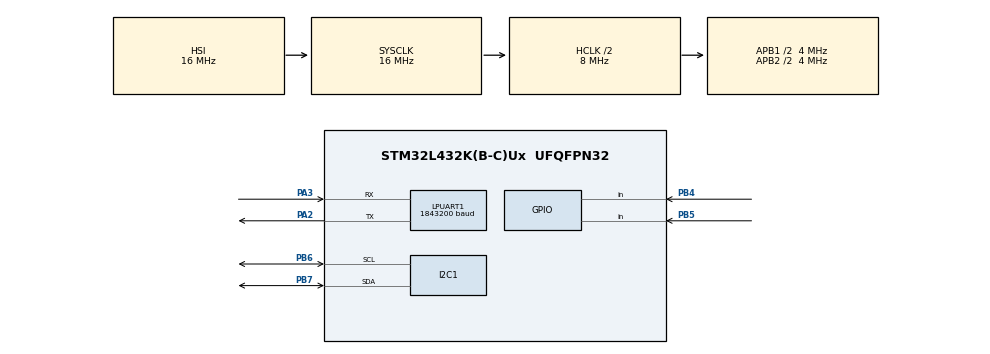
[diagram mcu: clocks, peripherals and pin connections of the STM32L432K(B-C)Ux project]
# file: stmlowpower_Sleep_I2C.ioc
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I2C1.Timing=0x00303D5B
LPUART1.BaudRate=1843200
LPUART1.WordLength=UART_WORDLENGTH_8B
Mcu.Family=STM32L4
Mcu.Name=STM32L432K(B-C)Ux
Mcu.Package=UFQFPN32
NVIC.PriorityGroup=NVIC_PRIORITYGROUP_4
NVIC.RCC_IRQn=true\:0\:0\:false\:false\:true\:true\:false\:true
NVIC.RTC_WKUP_IRQn=true\:0\:0\:false\:false\:true\:true\:true\:true
PA0.Mode=HSE-External-Clock-Source-for-LittleOrca
PA0.Signal=RCC_CK_IN
PA2.Mode=Asynchronous
PA2.Signal=LPUART1_TX
PA3.Mode=Asynchronous
PA3.Signal=LPUART1_RX
PB4\ (NJTRST).GPIO_PuPd=GPIO_PULLDOWN
PB4\ (NJTRST).Signal=GPIO_Input
PB5.GPIO_PuPd=GPIO_PULLDOWN
PB5.Signal=GPIO_Input
PB6.Mode=I2C
PB6.Signal=I2C1_SCL
PB7.Mode=I2C
PB7.Signal=I2C1_SDA
PC14-OSC32_IN\ (PC14).Mode=LSE-External-Oscillator
PC14-OSC32_IN\ (PC14).Signal=RCC_OSC32_IN
PC15-OSC32_OUT\ (PC15).Mode=LSE-External-Oscillator
PC15-OSC32_OUT\ (PC15).Signal=RCC_OSC32_OUT
ProjectManager.HeapSize=0x200
ProjectManager.StackSize=0x400
ProjectManager.TargetToolchain=STM32CubeIDE
RCC.ADCFreq_Value=500000
RCC.AHBCLKDivider=RCC_SYSCLK_DIV2
RCC.AHBFreq_Value=8000000
RCC.APB1CLKDivider=RCC_HCLK_DIV2
RCC.APB1Freq_Value=4000000
RCC.APB1TimFreq_Value=8000000
RCC.APB2CLKDivider=RCC_HCLK_DIV2
RCC.APB2Freq_Value=4000000
RCC.APB2TimFreq_Value=8000000
RCC.CortexFreq_Value=8000000
RCC.HCLKFreq_Value=8000000
RCC.HSE_VALUE=1000000
RCC.HSI48_VALUE=48000000
RCC.HSI_VALUE=16000000
RCC.I2C1CLockSelection=RCC_I2C1CLKSOURCE_SYSCLK
RCC.LPUART1CLockSelection=RCC_LPUART1CLKSOURCE_SYSCLK
RCC.MSIClockRange=RCC_MSIRANGE_4
RCC.MSI_VALUE=1000000
RCC.PLLM=8
RCC.PLLR=RCC_PLLR_DIV8
RCC.PLLSourceVirtual=RCC_PLLSOURCE_HSE
RCC.RTCClockSelection=RCC_RTCCLKSOURCE_LSE
RCC.SYSCLKFreq_VALUE=16000000
RCC.SYSCLKSource=RCC_SYSCLKSOURCE_HSI
RCC.USBFreq_Value=500000
RCC.VCOOutputFreq_Value=1000000
RTC.StoreOperation=RTC_STOREOPERATION_SET
VP_RTC_VS_RTC_Activate.Mode=RTC_Enabled
VP_RTC_VS_RTC_Calendar.Mode=RTC_Calendar
VP_RTC_VS_RTC_WakeUp_intern.Mode=WakeUp
board=custom

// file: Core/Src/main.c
/* USER CODE BEGIN Header */
/**
  ******************************************************************************
  * @file           : main.c
  * @brief          : Main program body
  ******************************************************************************
  * @attention
  *
  * Copyright (c) 2023 STMicroelectronics.
  * All rights reserved.
  *
  * This software is licensed under terms that can be found in the LICENSE file
  * in the root directory of this software component.
  * If no LICENSE file comes with this software, it is provided AS-IS.
  *
  * Code developed by Walter Schutz and Christopher Fehrer
  * 2023-2024 ECD 403 Senior project
  ******************************************************************************
  */
/* USER CODE END Header */
#include "main.h"

/* USER CODE BEGIN Includes */
#include "string.h"
#include <stdio.h>
#include <inttypes.h>
#include <stdarg.h> //for va_list var arg functions
/* USER CODE END Includes */

/* USER CODE BEGIN PD */
#define FLASH_USER_START_ADDR   ADDR_FLASH_PAGE_16   /* Start @ of user Flash area */
#define FLASH_USER_END_ADDR     ADDR_FLASH_PAGE_127 + FLASH_PAGE_SIZE - 1   /* End @ of user Flash area */
#define FLASH_USER_ADDR_ADDR    ADDR_FLASH_PAGE_127
#define DATA_64                 ((uint64_t)0x1234567812345678)
#define DATA_32                 ((uint32_t)0x12345678)
/* USER CODE END PD */

I2C_HandleTypeDef hi2c1;

UART_HandleTypeDef hlpuart1;

RTC_HandleTypeDef hrtc;

/* USER CODE BEGIN PV */
uint8_t  tempH, tempL; //Temperature data is read in 2 8-bit parts
uint8_t storeCounter=3, colInt = 30; //store intermediate values in backup reg for more efficiency
uint16_t fullTemp; // Full temperature data
uint64_t writeVal; // Value to write to flash storage
uint32_t bkWrite, bkWriteTime; // Value to write to backup register
uint8_t config = 0x01; // Address for CTRL register on temperature sensor
RTC_TimeTypeDef gTime; // to be used if we want to improve time tracking
uint32_t dataSamplesStored = 0; // number of temperature data samples taken
//FLASH MEMORY STUFF
uint32_t FirstPage = 0, NbOfPages = 0, BankNumber = 0;
uint32_t Address = 0, mgmtAddr = FLASH_USER_ADDR_ADDR, PAGEError = 0;
uint32_t Rx_Data[2];
__IO uint32_t data32 = 0, MemoryProgramStatus = 0;
static FLASH_EraseInitTypeDef EraseInitStruct;
//DATA TRANSFER STUFF
uint8_t UART_Rx_Data[1] = "w";
/* USER CODE END PV */

void SystemClock_Config(void);
static void MX_GPIO_Init(void);
static void MX_RTC_Init(void);
static void MX_I2C1_Init(void);
static void MX_LPUART1_UART_Init(void);
/* USER CODE BEGIN PFP */
void UART_TRANSMIT(char *str);
/* USER CODE END PFP */

/* USER CODE BEGIN 0 */
void HAL_GPIO_EXTI_Callback(uint16_t GPIO_Pin)
{
  if(GPIO_Pin == GPIO_PIN_9)
  {
	  SystemClock_Config ();
	  HAL_ResumeTick();
	  char *str = "WAKEUP FROM EXTII\n\n";
	  HAL_UART_Transmit(&hlpuart1, (uint8_t *) str, strlen (str), 100);
	  HAL_PWR_DisableSleepOnExit();
  }
}
void HAL_RTCEx_WakeUpTimerEventCallback(RTC_HandleTypeDef *hrtc){
	SystemClock_Config ();
	HAL_ResumeTick();
	char *str = "WAKEUP FROM RTC\n\n\r";
	HAL_UART_Transmit(&hlpuart1, (uint8_t *) str, strlen (str), 100);
	HAL_PWR_DisableSleepOnExit();
}
void myprintf(const char *fmt, ...) {
  static char buffer[256];
  va_list args;
  va_start(args, fmt);
  vsnprintf(buffer, sizeof(buffer), fmt, args);
  va_end(args);

  int len = strlen(buffer);
  HAL_UART_Transmit(&hlpuart1, (uint8_t*)buffer, len, 100);
}
static uint32_t GetPage(uint32_t Addr)
{
  uint32_t page = 0;

  if (Addr < (FLASH_BASE + FLASH_BANK_SIZE))
  {
    /* Bank 1 */
    page = (Addr - FLASH_BASE) / FLASH_PAGE_SIZE;
  }
  else
  {
    /* Bank 2 */
    page = (Addr - (FLASH_BASE + FLASH_BANK_SIZE)) / FLASH_PAGE_SIZE;
  }

  return page;
}

static uint32_t GetBank(uint32_t Addr)
{
  return FLASH_BANK_1;
}

void Flash_Read_Data (uint32_t StartPageAddress, uint32_t *RxBuf, uint16_t numberofwords)
{
	while (1)
	{

		*RxBuf = *(__IO uint32_t *)StartPageAddress;
		StartPageAddress += 4;
		RxBuf++;
		if (!(numberofwords--)) break;
	}
}

void Transfer_All_Data()
{
	uint32_t readSamplesStored = 0;
	uint32_t currentAddress = FLASH_USER_START_ADDR;
	uint32_t dataTimeInterval;
	uint32_t dataTimePassed = 0;
	uint32_t dataTemperatureHex;
	uint32_t dataTemperature;
	Flash_Read_Data(mgmtAddr-8, Rx_Data, 1);
	readSamplesStored = Rx_Data[1];
	readSamplesStored = (readSamplesStored == 0xffffffff) ? 0 : readSamplesStored;
	myprintf("#Transmitting all Temperature Data (%u Samples):\n\r", readSamplesStored * 4);
	if ((readSamplesStored == 0) || readSamplesStored == 0xffffffff)
		myprintf("No stored data samples to transfer!\n\r");
	else
	{
		for (uint32_t i = 1; i <= readSamplesStored * 4; i++)
		{
			dataTimeInterval = *(__IO uint32_t *)currentAddress & 0xff;
			dataTimePassed += dataTimeInterval;
			dataTemperatureHex = *(__IO uint32_t *)(currentAddress+4) & 0xff;
			dataTemperature = (dataTemperatureHex * 32) / 100;
			currentAddress += 1;
			// Above code reads from 2 concurrent 32-bit words. So once end of byte reached, skip 1 word.
			if ((i % 4) == 0)
				currentAddress += 4;
			myprintf("Time:, %d s, Temp:, %d C\n\r", dataTimePassed, dataTemperature);
		}
	}
	myprintf("Data Transfer Completed.\n\r");
}
/* USER CODE END 0 */

int main(void)
{

  /* MCU Configuration--------------------------------------------------------*/

  /* Reset of all peripherals, Initializes the Flash interface and the Systick. */
  HAL_Init();

  /* Configure the system clock */
  SystemClock_Config();

  /* Initialize all configured peripherals */
  MX_GPIO_Init();
  MX_RTC_Init();
  MX_I2C1_Init();
  MX_LPUART1_UART_Init();
  /* USER CODE BEGIN 2 */
  // Optional Flasher
  /*
  HAL_Delay(1000);
  for (int i=0; i<11; i++)
  {
	  HAL_GPIO_TogglePin(GPIOB, GPIO_PIN_3);
	  HAL_Delay(200);
  }
  HAL_GPIO_TogglePin(GPIOB, GPIO_PIN_3);
  */
  myprintf("BEGIN MAIN\n\n\r");
   /* enable the RTC Wakeup */
     /*  RTC Wake-up Interrupt Generation:
       Wake-up Time Base = (RTC_WAKEUPCLOCK_RTCCLK_DIV /(LSI))
       ==> WakeUpCounter = Wake-up Time / Wake-up Time Base

       To configure the wake up timer to 5s the WakeUpCounter is set to 0x2710:
       RTC_WAKEUPCLOCK_RTCCLK_DIV = RTCCLK_Div16 = 16
       Wake-up Time Base = 16 /(32KHz) = 0.0005 seconds
       ==> WakeUpCounter = ~5s/0.0005s = 10000 = 0x2710
     */
  if ((HAL_RTCEx_SetWakeUpTimer_IT(&hrtc, colInt, RTC_WAKEUPCLOCK_CK_SPRE_16BITS)) != HAL_OK)
  {
	  Error_Handler();
  }
  //Scan Flash for free page, assume if start of page is empty, the page is empty
  // 2048 should be page size in bytes, 1 address = 1 byte
  //HAL_FLASH_Program(FLASH_TYPEPROGRAM_DOUBLEWORD, mgmtAddr, FLASH_USER_START_ADDR);
  // Address = HAL_RTCEx_BKUPRead(&hrtc, RTC_BKP_DR1);
  if (Address == 0x00000000){
	  Address = FLASH_USER_START_ADDR;
	  while (mgmtAddr < FLASH_USER_END_ADDR && Rx_Data[0] != 0xFFFFFFFF){
		  Flash_Read_Data (mgmtAddr, Rx_Data, 1);
		  myprintf("read: %08" PRIx32 " at: %08" PRIx32 "\n\r",Rx_Data[0], mgmtAddr);
		  mgmtAddr += 8;
	  }
	  if ((Rx_Data[0] == 0xFFFFFFFF)){
		  mgmtAddr-=8;
		  Flash_Read_Data(mgmtAddr-8, Rx_Data, 1);
		  Address = Rx_Data[0];
		  dataSamplesStored=Rx_Data[1];
		  dataSamplesStored = (dataSamplesStored == 0xFFFFFFFF) ? 0 : dataSamplesStored;
		  myprintf("Address: %08" PRIx32 " Samples: %08" PRIx32 "\n\r",Rx_Data[0], Rx_Data[1]);
	  }else{
		  Address = Rx_Data[0];
		  dataSamplesStored=Rx_Data[1];
		  dataSamplesStored = (dataSamplesStored == 0xFFFFFFFF) ? 0 : dataSamplesStored;
	  }
	  if (Address >= FLASH_USER_ADDR_ADDR){
		//Now Erase the Flash memory we will use//
		/* Unlock the Flash to enable the flash control register access *************/
		HAL_FLASH_Unlock();
		/* Erase the user Flash area
				(area defined by FLASH_USER_START_ADDR and FLASH_USER_END_ADDR) ***********/
		  /* Clear OPTVERR bit set on virgin samples */
		__HAL_FLASH_CLEAR_FLAG(FLASH_FLAG_OPTVERR);
		/* Get the 1st page to erase */
		FirstPage = GetPage(FLASH_USER_START_ADDR);
		/* Get the number of pages to erase from 1st page */
		NbOfPages = GetPage(FLASH_USER_START_ADDR+FLASH_PAGE_SIZE) - FirstPage + 1;
		/* Get the bank */
		BankNumber = GetBank(FLASH_USER_START_ADDR);
		/* Fill EraseInit structure*/
		EraseInitStruct.TypeErase   = FLASH_TYPEERASE_PAGES;
		EraseInitStruct.Banks       = BankNumber;
		EraseInitStruct.Page        = FirstPage;
		EraseInitStruct.NbPages     = NbOfPages;
		myprintf("Starting Program\n\r");
		/* Note: If an erase operation in Flash memory also concerns data in the data or instruction cache,
				 you have to make sure that these data are rewritten before they are accessed during code
				 execution. If this cannot be done safely, it is recommended to flush the caches by setting the
				 DCRST and ICRST bits in the FLASH_CR register. */
		if (HAL_FLASHEx_Erase(&EraseInitStruct, &PAGEError) != HAL_OK)
		{
		  /*
		  Error occurred while page erase.
		  User can add here some code to deal with this error.
		  PAGEError will contain the faulty page and then to know the code error on this page,
		  user can call function 'HAL_FLASH_GetError()'
		  */
		  while (1)
		  {
				  /* Make LED3 blink (100ms on, 2s off) to indicate error in Erase operation */
			  HAL_GPIO_TogglePin(GPIOB, GPIO_PIN_3);
			  HAL_Delay(100);
			  HAL_GPIO_TogglePin(GPIOB, GPIO_PIN_3);
			  HAL_Delay(2000);
			  myprintf("ERROR while erasing\n");
		  }
		}
		Address = FLASH_USER_START_ADDR;
	 }
  }
  myprintf("Current Address: %08" PRIx32 "\n",Address);
  HAL_RTCEx_BKUPWrite(&hrtc, RTC_BKP_DR1, Address);
  //HAL_RTCEx_BKUPWrite(&hrtc, RTC_BKP_DR0, '*'); //Write to RTC backup register
  HAL_FLASH_Lock();
  /* USER CODE END 2 */

  /* Infinite loop */
  while (1)
  {
    /* USER CODE BEGIN 3 */
	if (storeCounter >= 3){
		storeCounter=0;
	}else{storeCounter++;}
	HAL_GPIO_TogglePin(GPIOB, GPIO_PIN_3); // Toggle LED on (does nothing)
	static uint32_t secondsPassed = 0; // keep track of time, assume RTC value is exact
	// Get current Address to write to //
	Address = HAL_RTCEx_BKUPRead(&hrtc, RTC_BKP_DR1);
	// Send time over serial for debugging
	myprintf("Time Passed (Since Power Loss): %u Seconds\n\r", (unsigned int)secondsPassed);
	// TEMPERATURE CODE //
	HAL_I2C_Mem_Write(&hi2c1, 0x79, 0x04, 1, &config, 1, 10);
	writeVal = 0;
	// Device Address is the manufacturer set slave address shifted left + 1
	if (HAL_I2C_IsDeviceReady(&hi2c1,0x79,1,10) == HAL_OK){ // Check if temp sensor detected
		myprintf("I2C Device Detected\n\n\r");

	 	//Write config to CTRL register in temp sensor
	 	//HAL_I2C_Mem_Write(&hi2c1, 0x78, 0x04, 1, &config, 1, 10);

	 	//Read data from both temperature registers
	 	HAL_I2C_Mem_Read(&hi2c1, 0x79 | 0x01, 0x06, 1, &tempL, 1, 10);
	 	HAL_I2C_Mem_Read(&hi2c1, 0x79 | 0x01, 0x07, 1, &tempH, 1, 10);

	 	//If power loss, try reading temperature a second time with a delay
	 	if ((fullTemp == 0) && (secondsPassed == 0))
	 	{
	 		HAL_Delay(50);

		 	//Read data from both temperature registers
		 	HAL_I2C_Mem_Read(&hi2c1, 0x79 | 0x01, 0x06, 1, &tempL, 1, 10);
		 	HAL_I2C_Mem_Read(&hi2c1, 0x79 | 0x01, 0x07, 1, &tempH, 1, 10);

		 	fullTemp =((uint16_t)tempH << 8) | tempL;
	 	}

	 	//Concatenate and Print temperature data
	 	fullTemp =((uint16_t)tempH << 8) | tempL;
	 	myprintf("temperature = %d \n\r", fullTemp/100);
	}
 	bkWrite = ((uint32_t)(uint8_t)((fullTemp >> 5) & 0xFF) << storeCounter*8);
 	bkWrite = (bkWrite | HAL_RTCEx_BKUPRead(&hrtc, RTC_BKP_DR2));
 	bkWriteTime = (uint32_t)colInt<<storeCounter*8;
 	bkWriteTime = (bkWriteTime | HAL_RTCEx_BKUPRead(&hrtc, RTC_BKP_DR3));
	if (storeCounter!=3){
		HAL_RTCEx_BKUPWrite(&hrtc, RTC_BKP_DR2, bkWrite);
		HAL_RTCEx_BKUPWrite(&hrtc, RTC_BKP_DR3, bkWriteTime);
	}else{
		myprintf("Current Address: %08" PRIx32 "\n\r",Address);
		HAL_RTCEx_BKUPWrite(&hrtc, RTC_BKP_DR2, bkWrite);
		HAL_RTCEx_BKUPWrite(&hrtc, RTC_BKP_DR3, bkWriteTime);
		writeVal = ((uint64_t)HAL_RTCEx_BKUPRead(&hrtc, RTC_BKP_DR2)<<32) | HAL_RTCEx_BKUPRead(&hrtc, RTC_BKP_DR3);
		HAL_FLASH_Unlock();
		if (Address < FLASH_USER_ADDR_ADDR)
		{
			if (Address % FLASH_PAGE_SIZE == 0){ /*is the current address the start of a page?*/
				myprintf("Starting new page... Erasing...\n\r");
				__HAL_FLASH_CLEAR_FLAG(FLASH_FLAG_OPTVERR);
				/* Erase the Next Page */
				FirstPage = GetPage(Address);
				NbOfPages = 1;
				/* Get the bank */
				BankNumber = GetBank(FLASH_USER_START_ADDR);
				/* Fill EraseInit structure*/
				EraseInitStruct.TypeErase   = FLASH_TYPEERASE_PAGES;
				EraseInitStruct.Banks       = BankNumber;
				EraseInitStruct.Page        = FirstPage;
				EraseInitStruct.NbPages     = NbOfPages;
				HAL_FLASHEx_Erase(&EraseInitStruct, &PAGEError);
			}
			if (HAL_FLASH_Program(FLASH_TYPEPROGRAM_DOUBLEWORD, Address, writeVal) == HAL_OK)
			{
				//myprintf("%08" PRIx32 "\n\r",bkWriteTime);
				HAL_RTCEx_BKUPWrite(&hrtc, RTC_BKP_DR2,0x00000000);
				HAL_RTCEx_BKUPWrite(&hrtc, RTC_BKP_DR3,0x00000000);
				Address = Address + 8;
			 	dataSamplesStored++;
			}else{
				myprintf("ERROR WRITING DATA\n\r");
				Address = Address + 8;
			} //Store current Address in memory in case power is lost!
			if (mgmtAddr >= FLASH_USER_END_ADDR){
				// Erase mem mgmt page and start again!
				myprintf("Erasing memory management page...");
			    __HAL_FLASH_CLEAR_FLAG(FLASH_FLAG_OPTVERR);
				/* Erase the Next Page */
				FirstPage = GetPage(FLASH_USER_ADDR_ADDR);
				NbOfPages = 1;
				/* Get the bank */
				BankNumber = GetBank(FLASH_USER_ADDR_ADDR);
				EraseInitStruct.TypeErase   = FLASH_TYPEERASE_PAGES;
				EraseInitStruct.Banks       = BankNumber;
				EraseInitStruct.Page        = FirstPage;
				EraseInitStruct.NbPages     = NbOfPages;
				HAL_FLASHEx_Erase(&EraseInitStruct, &PAGEError);
				mgmtAddr = FLASH_USER_ADDR_ADDR;
			}
			//if (HAL_FLASH_Program(FLASH_TYPEPROGRAM_DOUBLEWORD, mgmtAddr, (((uint64_t)Address <<32) | (uint32_t)dataSamplesStored) == HAL_OK))
			if (HAL_FLASH_Program(FLASH_TYPEPROGRAM_DOUBLEWORD, mgmtAddr, (uint64_t)dataSamplesStored<<32|Address) == HAL_OK)
			{
				myprintf("stored: %08" PRIx32 " at: %08" PRIx32 "\n",Address, mgmtAddr);
				mgmtAddr = mgmtAddr + 8;
			}else{
				myprintf("ERROR STORING ADDRESS\n");
				mgmtAddr = mgmtAddr + 8;
			}
		}else{
			myprintf("Reached end of user address... \n starting from the top!");
			Address = FLASH_USER_START_ADDR;
			__HAL_FLASH_CLEAR_FLAG(FLASH_FLAG_OPTVERR);
			/* Get the 1st page to erase */
			FirstPage = GetPage(Address);
			NbOfPages = 1;
			/* Get the bank */
			BankNumber = GetBank(FLASH_USER_START_ADDR);
			/* Fill EraseInit structure*/
			EraseInitStruct.TypeErase   = FLASH_TYPEERASE_PAGES;
			EraseInitStruct.Banks       = BankNumber;
			EraseInitStruct.Page        = FirstPage;
			EraseInitStruct.NbPages     = NbOfPages;
			HAL_FLASHEx_Erase(&EraseInitStruct, &PAGEError);
		}
		HAL_FLASH_Lock();
	}
	//Write current Address up backup register
	HAL_RTCEx_BKUPWrite(&hrtc, RTC_BKP_DR1, Address);

	// Check if USB connected (CN2 PIN 2 -> D12)
	if (HAL_GPIO_ReadPin(GPIOB, GPIO_PIN_4))
	{
		// If USB connected transfer data
		myprintf("USB Detected\n\r");
		Transfer_All_Data();
	}
	// check PGOOD
	if(HAL_GPIO_ReadPin (GPIOB, GPIO_PIN_5)){
		colInt = 30;
		HAL_RTCEx_SetWakeUpTimer_IT(&hrtc, colInt, RTC_WAKEUPCLOCK_CK_SPRE_16BITS);
	}else{
		colInt = 120;
		HAL_RTCEx_SetWakeUpTimer_IT(&hrtc, colInt, RTC_WAKEUPCLOCK_CK_SPRE_16BITS);
	}
	/* Suspend tick before entering stop mode */
	HAL_SuspendTick();
	/* Sleep on Exit? */
	//HAL_PWR_EnableSleepOnExit();
	HAL_PWR_DisableSleepOnExit();
	HAL_GPIO_TogglePin(GPIOB, GPIO_PIN_3);
	// Disable peripherals before entering stop mode
	HAL_UART_DeInit(&hlpuart1);
	HAL_I2C_DeInit(&hi2c1);
	/* Enter STOP mode */
	HAL_PWR_EnterSTOPMode(PWR_LOWPOWERREGULATOR_ON, PWR_STOPENTRY_WFI);
	/* Wake from stop mode */
	SystemClock_Config();
	// Re-init peripherals after waking from stop mode
	MX_I2C1_Init();
	MX_LPUART1_UART_Init();
	HAL_ResumeTick();
	secondsPassed += colInt;
	/** Deactivate the RTC wakeup, we would do this when connected to PC**/
	//HAL_RTCEx_DeactivateWakeUpTimer(&hrtc);
	/*for (int j=0; j<6; j++)
	{
		HAL_GPIO_TogglePin(GPIOB, GPIO_PIN_3);
		HAL_Delay (200);
	}*/

  }
  /* USER CODE END 3 */
}

void SystemClock_Config(void)
{
  RCC_OscInitTypeDef RCC_OscInitStruct = {0};
  RCC_ClkInitTypeDef RCC_ClkInitStruct = {0};

  /** Configure the main internal regulator output voltage
  */
  if (HAL_PWREx_ControlVoltageScaling(PWR_REGULATOR_VOLTAGE_SCALE1) != HAL_OK)
  {
    Error_Handler();
  }

  /** Configure LSE Drive Capability
  */
  HAL_PWR_EnableBkUpAccess();
  __HAL_RCC_LSEDRIVE_CONFIG(RCC_LSEDRIVE_LOW);

  /** Initializes the RCC Oscillators according to the specified parameters
  * in the RCC_OscInitTypeDef structure.
  */
  RCC_OscInitStruct.OscillatorType = RCC_OSCILLATORTYPE_HSI|RCC_OSCILLATORTYPE_LSE;
  RCC_OscInitStruct.LSEState = RCC_LSE_ON;
  RCC_OscInitStruct.HSIState = RCC_HSI_ON;
  RCC_OscInitStruct.HSICalibrationValue = RCC_HSICALIBRATION_DEFAULT;
  RCC_OscInitStruct.PLL.PLLState = RCC_PLL_NONE;
  if (HAL_RCC_OscConfig(&RCC_OscInitStruct) != HAL_OK)
  {
    Error_Handler();
  }

  /** Initializes the CPU, AHB and APB buses clocks
  */
  RCC_ClkInitStruct.ClockType = RCC_CLOCKTYPE_HCLK|RCC_CLOCKTYPE_SYSCLK
                              |RCC_CLOCKTYPE_PCLK1|RCC_CLOCKTYPE_PCLK2;
  RCC_ClkInitStruct.SYSCLKSource = RCC_SYSCLKSOURCE_HSI;
  RCC_ClkInitStruct.AHBCLKDivider = RCC_SYSCLK_DIV2;
  RCC_ClkInitStruct.APB1CLKDivider = RCC_HCLK_DIV2;
  RCC_ClkInitStruct.APB2CLKDivider = RCC_HCLK_DIV2;

  if (HAL_RCC_ClockConfig(&RCC_ClkInitStruct, FLASH_LATENCY_0) != HAL_OK)
  {
    Error_Handler();
  }
}

static void MX_I2C1_Init(void)
{

  hi2c1.Instance = I2C1;
  hi2c1.Init.Timing = 0x00303D5B;
  hi2c1.Init.OwnAddress1 = 0;
  hi2c1.Init.AddressingMode = I2C_ADDRESSINGMODE_7BIT;
  hi2c1.Init.DualAddressMode = I2C_DUALADDRESS_DISABLE;
  hi2c1.Init.OwnAddress2 = 0;
  hi2c1.Init.OwnAddress2Masks = I2C_OA2_NOMASK;
  hi2c1.Init.GeneralCallMode = I2C_GENERALCALL_DISABLE;
  hi2c1.Init.NoStretchMode = I2C_NOSTRETCH_DISABLE;
  if (HAL_I2C_Init(&hi2c1) != HAL_OK)
  {
    Error_Handler();
  }

  /** Configure Analogue filter
  */
  if (HAL_I2CEx_ConfigAnalogFilter(&hi2c1, I2C_ANALOGFILTER_ENABLE) != HAL_OK)
  {
    Error_Handler();
  }

  /** Configure Digital filter
  */
  if (HAL_I2CEx_ConfigDigitalFilter(&hi2c1, 0) != HAL_OK)
  {
    Error_Handler();
  }

}

static void MX_LPUART1_UART_Init(void)
{

  hlpuart1.Instance = LPUART1;
  hlpuart1.Init.BaudRate = 1843200;
  hlpuart1.Init.WordLength = UART_WORDLENGTH_8B;
  hlpuart1.Init.StopBits = UART_STOPBITS_1;
  hlpuart1.Init.Parity = UART_PARITY_NONE;
  hlpuart1.Init.Mode = UART_MODE_TX_RX;
  hlpuart1.Init.HwFlowCtl = UART_HWCONTROL_NONE;
  hlpuart1.Init.OneBitSampling = UART_ONE_BIT_SAMPLE_DISABLE;
  hlpuart1.AdvancedInit.AdvFeatureInit = UART_ADVFEATURE_NO_INIT;
  if (HAL_UART_Init(&hlpuart1) != HAL_OK)
  {
    Error_Handler();
  }

}

static void MX_RTC_Init(void)
{

  RTC_TimeTypeDef sTime = {0};
  RTC_DateTypeDef sDate = {0};

  /** Initialize RTC Only
  */
  hrtc.Instance = RTC;
  hrtc.Init.HourFormat = RTC_HOURFORMAT_24;
  hrtc.Init.AsynchPrediv = 127;
  hrtc.Init.SynchPrediv = 255;
  hrtc.Init.OutPut = RTC_OUTPUT_DISABLE;
  hrtc.Init.OutPutRemap = RTC_OUTPUT_REMAP_NONE;
  hrtc.Init.OutPutPolarity = RTC_OUTPUT_POLARITY_HIGH;
  hrtc.Init.OutPutType = RTC_OUTPUT_TYPE_OPENDRAIN;
  if (HAL_RTC_Init(&hrtc) != HAL_OK)
  {
    Error_Handler();
  }

  /* USER CODE BEGIN Check_RTC_BKUP */
  if(HAL_RTCEx_BKUPRead(&hrtc, RTC_BKP_DR0) == '*') {
      //Time is OK. Set Alarms later.
      myprintf("RTC backup available\n");
      return;
  }
  /* USER CODE END Check_RTC_BKUP */

  /** Initialize RTC and set the Time and Date
  */
  sTime.Hours = 0x0;
  sTime.Minutes = 0x0;
  sTime.Seconds = 0x0;
  sTime.DayLightSaving = RTC_DAYLIGHTSAVING_NONE;
  sTime.StoreOperation = RTC_STOREOPERATION_SET;
  if (HAL_RTC_SetTime(&hrtc, &sTime, RTC_FORMAT_BCD) != HAL_OK)
  {
    Error_Handler();
  }
  sDate.WeekDay = RTC_WEEKDAY_MONDAY;
  sDate.Month = RTC_MONTH_JANUARY;
  sDate.Date = 0x1;
  sDate.Year = 0x0;

  if (HAL_RTC_SetDate(&hrtc, &sDate, RTC_FORMAT_BCD) != HAL_OK)
  {
    Error_Handler();
  }

}

static void MX_GPIO_Init(void)
{
  GPIO_InitTypeDef GPIO_InitStruct = {0};

  /* GPIO Ports Clock Enable */
  __HAL_RCC_GPIOC_CLK_ENABLE();
  __HAL_RCC_GPIOA_CLK_ENABLE();
  __HAL_RCC_GPIOB_CLK_ENABLE();

  /*Configure GPIO pins : PB4 PB5 */
  GPIO_InitStruct.Pin = GPIO_PIN_4|GPIO_PIN_5;
  GPIO_InitStruct.Mode = GPIO_MODE_INPUT;
  GPIO_InitStruct.Pull = GPIO_PULLDOWN;
  HAL_GPIO_Init(GPIOB, &GPIO_InitStruct);

}

void Error_Handler(void)
{
  __disable_irq();
  while (1)
  {
  }
}
